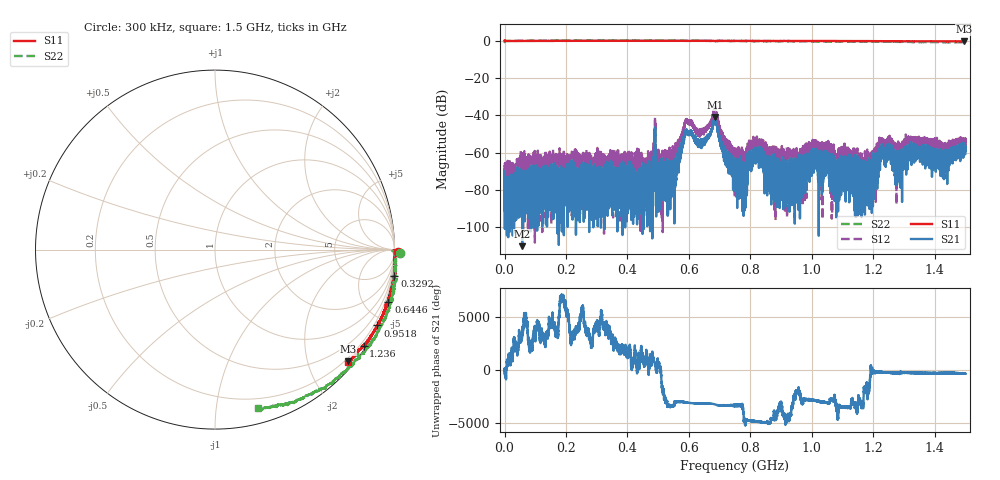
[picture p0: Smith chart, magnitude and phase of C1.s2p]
!Agilent Technologies,N5230C,SG49000117,A.08.50.07
!Agilent N5230C: A.08.50.07
!Date: Thursday, December 07, 2023 05:28:48
!Correction: S11(Full 2 Port(1,2))
!S21(Full 2 Port(1,2))
!S12(Full 2 Port(1,2))
!S22(Full 2 Port(1,2))
!S2P File: Measurements: S11, S21, S12, S22:
# Hz S  RI  R 50
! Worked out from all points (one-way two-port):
!   20001 points, 300 kHz to 1.5 GHz, reference 50 ohm
!   highest |S21| = -40.84 dB at 685.3 MHz (marker M1); lowest = -110.2 dB at 57.59 MHz (marker M2)
!   lowest |S11| = -0.3 dB at 1.497 GHz (marker M3), VSWR 61.76, Z = 6.9 - j137 ohm
!   |S11| at or under -10 dB: nowhere
!   |S22| runs from -0.8 to 0.3 dB; largest |S21 - S12| = 0.009
!   S11 on the Smith chart (normalised r, x): 300 kHz: -75, -54; 329.2 MHz: -1, -14; 644.6 MHz: -0.21, -6.77; 951.8 MHz: 0.02, -4.50; 1.236 GHz: 0.09, -3.39; 1.5 GHz: 0.12, -2.73
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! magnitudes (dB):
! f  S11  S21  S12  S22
! 300 kHz  0.2  -73.2  -80.8  0.3
! 57.59 MHz  0.0  -110.2  -72.8  0.1
! 250.3 MHz  0.1  -81.1  -66.9  0.2
! 329.2 MHz  0.1  -78.4  -64.5  0.2
! 458.7 MHz  0.1  -72.4  -63.2  0.2
! 488.3 MHz  0.1  -53.6  -47.6  0.1
! 500.2 MHz  0.1  -79.2  -67.7  0.2
! 552.8 MHz  0.1  -69.8  -58.3  0.1
! 591.9 MHz  0.0  -48.1  -42.8  0.1
! 644.6 MHz  0.1  -54.6  -48.3  0.1
! 685.3 MHz  0.0  -40.8  -35.5  -0.1
! 750.1 MHz  0.0  -68.2  -62.3  0.0
! 779.9 MHz  0.0  -74.5  -67.7  -0.1
! 828.5 MHz  0.0  -61.8  -56.5  -0.1
! 881.5 MHz  0.0  -71.3  -65.3  -0.1
! 951.8 MHz  0.0  -65.4  -64.4  -0.2
! 1 GHz  0.0  -67.1  -59.4  -0.2
! 1.167 GHz  -0.1  -70.4  -72.4  -0.4
! 1.236 GHz  -0.1  -57.5  -54.7  -0.5
! 1.25 GHz  -0.1  -58.7  -55.3  -0.4
! 1.497 GHz  -0.3  -61.0  -55.3  -0.7
! 1.5 GHz  -0.3  -60.5  -53.2  -0.8
